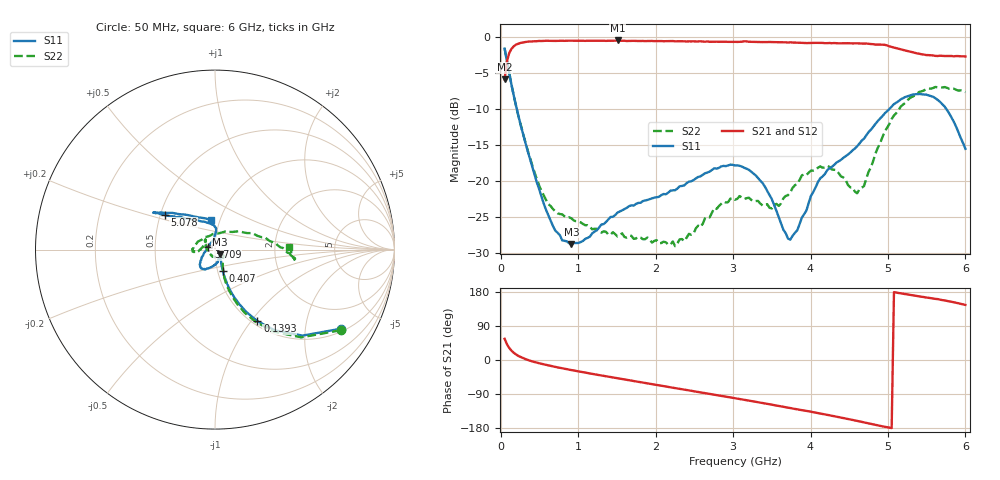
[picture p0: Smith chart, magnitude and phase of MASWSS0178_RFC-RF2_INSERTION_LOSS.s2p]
!Part No: MASWSS0178
!2-port De-embedded S-parameters
!Date: 11-02-09
!Temp: Room
!Control Voltage = 0/5V
!REF: AQTN1557
!Fixture Loss is only removed from S21 and S12 data
!47pF Blocking Caps
!RFC to RF2 Insertion Loss State
#GHZ S MA R 50
!Freq(GHz)	S11 (Mag)	S11 (Ang)	S21 (Mag)	S21 (Ang)	S12 (Mag)	S12 (Ang)	S22 (Mag)	S22 (Ang)
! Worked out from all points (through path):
!   201 points, 50 MHz to 6 GHz, reference 50 ohm
!   highest |S21| = -0.50 dB at 1.508 GHz (marker M1); lowest = -5.9 dB at 50 MHz (marker M2)
!   group delay of S21, straight-line fit = 105 ps
!   lowest |S11| = -28.8 dB at 912.8 MHz (marker M3), VSWR 1.08, Z = 52.7 - j2.63 ohm
!   |S11| at or under -10 dB: 207.2 MHz to 5.019 GHz (4.812 GHz wide, 184 % of centre); 5.753 GHz to end of sweep
!   |S22| runs from -29.0 to -1.6 dB; largest |S21 - S12| = 0.0079
!   S11 on the Smith chart (normalised r, x): 50 MHz: 1.11, -3.11; 139.2 MHz: 1.06, -1.08; 407 MHz: 1.06, -0.25; 3.709 GHz: 0.93, +0.03; 5.078 GHz: 0.53, +0.23; 6 GHz: 0.90, +0.31
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0.05  0.8281 -32.2  0.5074 55.9  0.5092 55.7  0.8316 -32.7
0.07975  0.6839 -44.5  0.6753 41.9  0.6749 42.0  0.6856 -45.5
0.13925  0.4637 -59.3  0.8272 24.5  0.8274 24.4  0.464 -60.5
0.2285  0.2827 -68.1  0.8967 10.6  0.8986 10.6  0.2824 -69.6
0.407  0.1254 -69.5  0.9296 -3.7  0.9314 -3.6  0.1285 -69.0
0.67475  0.04866 -52.1  0.9381 -16.9  0.938 -17.1  0.06387 -44.3
0.91275  0.03648 -43.1  0.9407 -26.6  0.9398 -26.5  0.05506 -36.8
1.0615  0.03837 -47.4  0.9404 -32.1  0.942 -32.2  0.05032 -42.6
1.50775  0.06034 -72.0  0.9444 -48.1  0.9445 -48.2  0.04126 -86.0
2.04325  0.07768 -84.3  0.9348 -66.8  0.9329 -66.8  0.03701 -125.4
2.3705  0.09329 -97.7  0.9308 -78.1  0.9316 -78.1  0.03825 -166.0
3.025  0.1281 -127.2  0.9236 -100.8  0.9238 -101.0  0.07405 136.3
3.382  0.09673 -143.2  0.9199 -113.6  0.9202 -113.5  0.0675 141.8
3.70925  0.03984 158.1  0.9141 -125.5  0.9152 -125.7  0.07961 179.6
3.82825  0.04541 112.6  0.9121 -130.0  0.9121 -130.2  0.09524 -173.5
4.0365  0.08398 89.0  0.9085 -137.8  0.91 -137.7  0.1179 -173.2
4.334  0.1341 91.8  0.9034 -149.5  0.9006 -149.6  0.1192 169.4
4.60175  0.1742 115.7  0.9022 -160.7  0.9026 -160.8  0.0821 108.2
5.01825  0.3159 143.7  0.8593 -178.5  0.8618 -178.7  0.2485 17.9
5.07775  0.3415 145.5  0.8422 179.1  0.8418 179.0  0.2853 14.0
5.61325  0.375 146.8  0.738 161.3  0.7362 161.1  0.4491 -6.7
6  0.1673 98.4  0.7308 145.4  0.7294 145.5  0.4136 1.7
